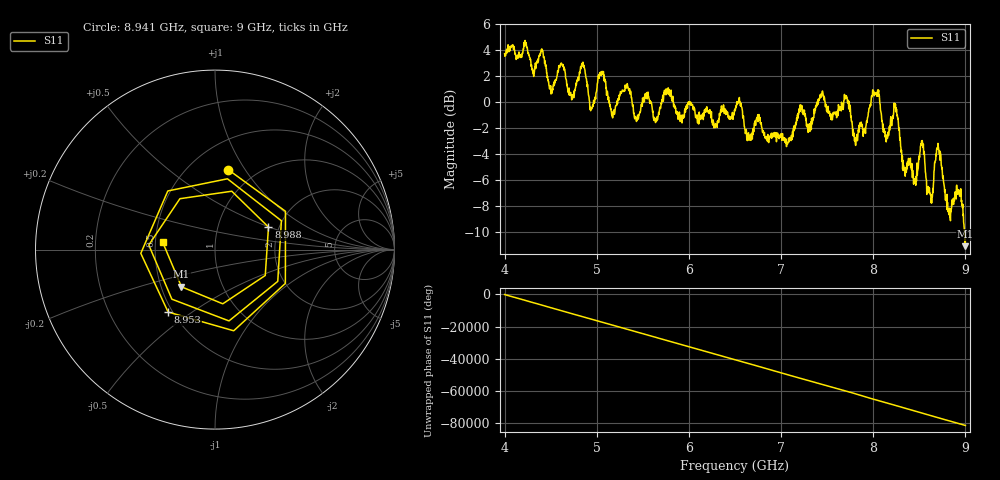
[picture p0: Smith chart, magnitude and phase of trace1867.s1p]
! Created with skrf 1.8.0 (http://scikit-rf.org).
# Hz S RI R 50.0
!freq ReS11 ImS11
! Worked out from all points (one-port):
!   1601 points, 4 GHz to 9 GHz, reference 50 ohm
!   lowest |S11| = -11.1 dB at 8.997 GHz (marker M1), VSWR 1.77, Z = 31.8 - j14.3 ohm
!   |S11| at or under -10 dB: 8.990529 GHz to end of sweep
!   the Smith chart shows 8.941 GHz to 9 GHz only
!   S11 on the Smith chart (normalised r, x): 8.941 GHz: 0.76, +0.84; 8.953 GHz: 0.47, -0.41; 8.988 GHz: 1.76, +0.49; 9 GHz: 0.55, +0.05
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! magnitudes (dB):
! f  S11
! 4 GHz  3.7
! 4.406 GHz  4.1
! 4.506 GHz  0.7
! 4.625 GHz  2.9
! 4.728 GHz  0.2
! 4.85 GHz  3.1
! 4.947 GHz  -0.5
! 5.047 GHz  2.1
! 5.25 GHz  0.6
! 5.875 GHz  -0.7
! 6.5 GHz  -0.5
! 7.125 GHz  -2.2
! 7.438 GHz  0.4
! 7.75 GHz  -0.2
! 7.819 GHz  -2.7
! 8.041 GHz  0.7
! 8.134 GHz  -2.5
! 8.247 GHz  -0.4
! 8.375 GHz  -4.7
! 8.531 GHz  -2.9
! 8.625 GHz  -7.2
! 8.709 GHz  -3.6
! 8.822 GHz  -8.7
! 8.941 GHz  -6.9
! 8.953 GHz  -7.2
! 8.988 GHz  -9.8
! 8.997 GHz  -11.1
! 9 GHz  -10.6
